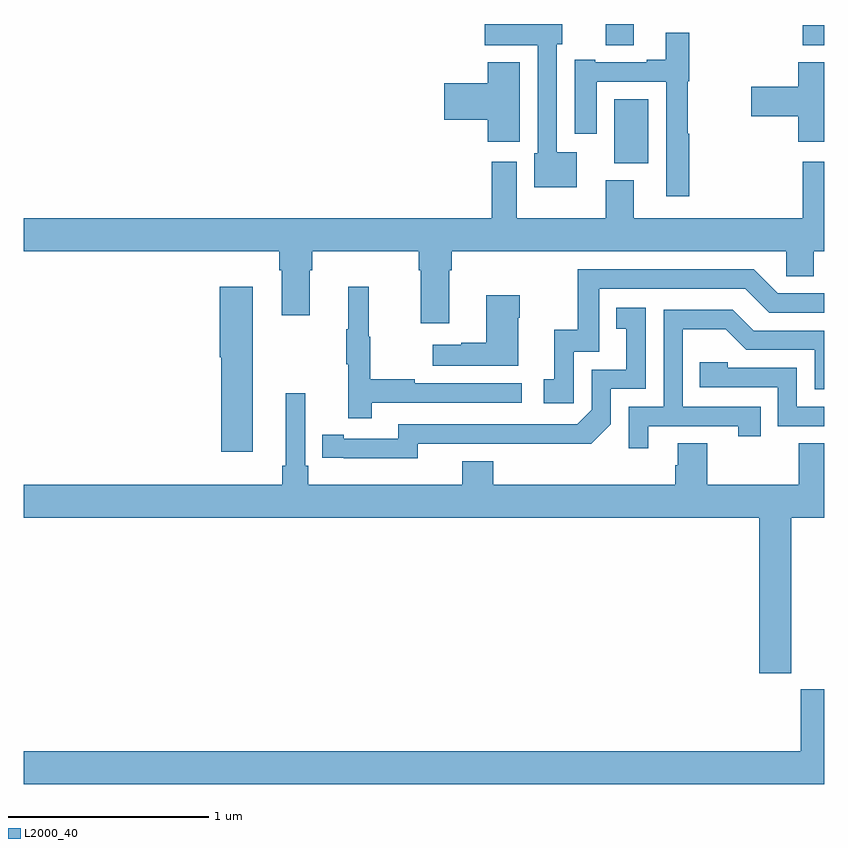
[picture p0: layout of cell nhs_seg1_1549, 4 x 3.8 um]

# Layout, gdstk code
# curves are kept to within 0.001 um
import gdstk
lib = gdstk.Library(unit=1e-6, precision=1e-09)
def R(c, l, rs):  # rectangles x0, y0, x1, y1
    for r in rs: c.add(gdstk.rectangle(r[:2], r[2:], *l))
def P(c, l, *ps):  # polygons
    for p in ps: c.add(gdstk.Polygon(p, *l))
L2000_40 = (2000, 40)

nhs_seg1_1549 = lib.new_cell('nhs_seg1_1549')
R(nhs_seg1_1549, L2000_40, [(197.951,553.502,198.121,553.822), (197.909,554.092,198.049,554.199), (198.894,554.094,199,554.192)])
P(nhs_seg1_1549, L2000_40, [(197.764,553.558),(197.664,553.558),(197.664,554.097),(197.692,554.097),(197.692,554.199),(197.304,554.199),(197.304,554.093),(197.568,554.093),(197.568,553.554),(197.552,553.554),(197.552,553.382),(197.764,553.382)],
  [(198.326,553.65),(198.319,553.65),(198.319,553.914),(198.326,553.914),(198.326,554.155),(198.209,554.155),(198.209,554.02),(198.113,554.02),(198.113,554.007),(197.857,554.007),(197.857,554.02),(197.753,554.02),(197.753,553.65),(197.863,553.65),(197.863,553.911),(198.21,553.911),(198.21,553.338),(198.326,553.338)],
  [(199,554.009),(198.872,554.009),(198.872,553.886),(198.636,553.886),(198.636,553.739),(198.872,553.739),(198.872,553.611),(199,553.611)],
  [(197.479,554.008),(197.318,554.008),(197.318,553.904),(197.1,553.904),(197.1,553.721),(197.318,553.721),(197.318,553.611),(197.479,553.611)],
  [(197.125,552.968),(197.138,552.968),(197.138,553.064),(198.81,553.064),(198.81,552.937),(198.949,552.937),(198.949,553.064),(199,553.064),(199,553.51),(198.893,553.51),(198.893,553.228),(198.049,553.228),(198.049,553.417),(197.909,553.417),(197.909,553.228),(197.464,553.228),(197.464,553.51),(197.339,553.51),(197.339,553.228),(195,553.228),(195,553.064),(196.277,553.064),(196.277,552.968),(196.289,552.968),(196.289,552.744),(196.429,552.744),(196.429,552.968),(196.442,552.968),(196.442,553.064),(196.973,553.064),(196.973,552.968),(196.985,552.968),(196.985,552.702),(197.125,552.702)],
  [(197.748,552.561),(197.877,552.561),(197.877,552.876),(198.606,552.876),(198.726,552.756),(199,552.756),(199,552.852),(198.768,552.852),(198.648,552.972),(197.769,552.972),(197.769,552.67),(197.651,552.67),(197.651,552.423),(197.598,552.423),(197.598,552.303),(197.748,552.303)],
  [(196.144,552.886),(195.98,552.886),(195.98,552.534),(195.986,552.534),(195.986,552.06),(196.144,552.06)],
  [(196.739,552.306),(197.488,552.306),(197.488,552.402),(196.955,552.402),(196.955,552.422),(196.732,552.422),(196.732,552.636),(196.724,552.636),(196.724,552.886),(196.622,552.886),(196.622,552.673),(196.611,552.673),(196.611,552.499),(196.622,552.499),(196.622,552.228),(196.739,552.228)],
  [(197.47,552.731),(197.478,552.731),(197.478,552.844),(197.312,552.844),(197.312,552.605),(197.186,552.605),(197.186,552.595),(197.043,552.595),(197.043,552.491),(197.47,552.491)],
  [(196.968,552.102),(197.836,552.101),(197.934,552.198),(197.934,552.375),(198.108,552.375),(198.108,552.781),(197.962,552.781),(197.962,552.675),(198.011,552.675),(198.011,552.471),(197.838,552.471),(197.838,552.27),(197.766,552.198),(196.872,552.198),(196.872,552.126),(196.6,552.126),(196.6,552.146),(196.492,552.146),(196.492,552.03),(196.968,552.029)],
  [(198.121,552.189),(198.572,552.189),(198.572,552.138),(198.683,552.138),(198.683,552.285),(198.294,552.285),(198.294,552.674),(198.508,552.674),(198.612,552.57),(198.954,552.57),(198.954,552.372),(199,552.372),(199,552.666),(198.649,552.666),(198.544,552.771),(198.198,552.771),(198.198,552.285),(198.024,552.285),(198.024,552.078),(198.121,552.078)],
  [(199,552.285),(198.864,552.285),(198.864,552.48),(198.519,552.48),(198.519,552.507),(198.379,552.507),(198.379,552.384),(198.768,552.384),(198.768,552.189),(199,552.189)],
  [(198.837,551.732),(199,551.732),(199,552.104),(198.874,552.104),(198.874,551.896),(198.417,551.896),(198.417,552.104),(198.269,552.104),(198.269,551.994),(198.257,551.994),(198.257,551.896),(197.345,551.896),(197.345,552.013),(197.192,552.013),(197.192,551.896),(196.421,551.896),(196.421,551.992),(196.407,551.992),(196.407,552.352),(196.31,552.352),(196.31,551.992),(196.291,551.992),(196.291,551.896),(195,551.896),(195,551.732),(198.677,551.732),(198.677,550.953),(198.837,550.953)],
  [(199,550.873),(198.884,550.873),(198.884,550.564),(195,550.564),(195,550.4),(199,550.4)])

lib.write_gds('nhs_seg1_1549.gds')
